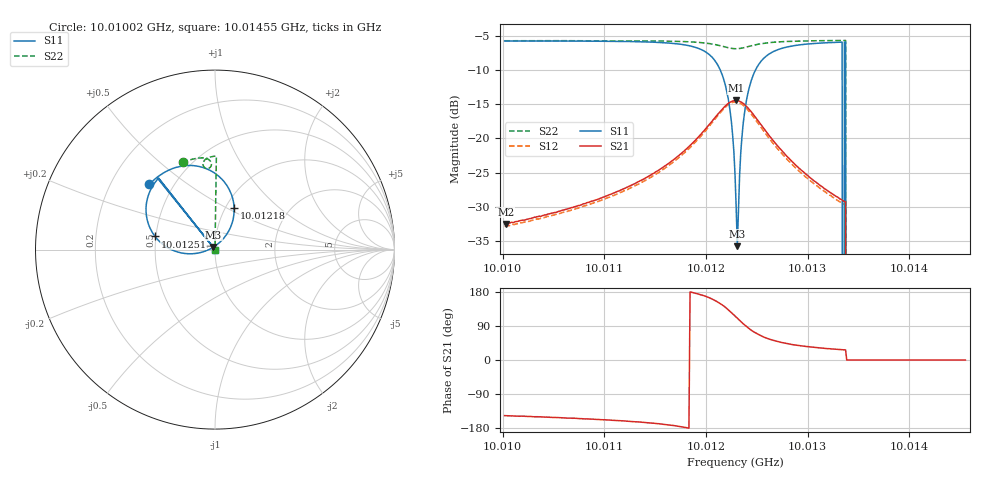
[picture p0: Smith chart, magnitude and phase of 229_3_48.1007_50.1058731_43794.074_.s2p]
#  HZ  S  RI  R  50.00
! Rohde & Schwarz Vector Network Analyzer
! Rohde-Schwarz,ZNB20-2Port,1311601062101988,3.16
! Created: UTC 12/23/2023, 3:57:35 AM
! freq[Hz]  re:S11  im:S11  re:S21  im:S21  re:S12  im:S12  re:S22  im:S22
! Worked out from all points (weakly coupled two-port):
!   401 points, 10.01002 GHz to 10.01455 GHz, reference 50 ohm
!   highest |S21| = -14.44 dB at 10.0123 GHz (marker M1); lowest = -32.5 dB at 10.01003 GHz (marker M2)
!   lowest |S11| = -35.8 dB at 10.01231 GHz (marker M3), VSWR 1.03, Z = 49.1 + j1.37 ohm
!   |S11| at or under -10 dB: 10.01214 GHz to 10.01249 GHz (345.5 kHz wide, 0.00345 % of centre); 10.01334 GHz to 10.01336 GHz (22.17 kHz wide, 0.000221 % of centre); 10.01337 GHz to end of sweep
!   |S22| runs from - to -5.7 dB; largest |S21 - S12| = 0.0094
!   S11 on the Smith chart (normalised r, x): 10.01002 GHz: 0.37, +0.37; 10.01218 GHz: 1.10, +0.55; 10.01251 GHz: 0.49, +0.08; 10.01455 GHz: 1.00, +0.00
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1.0010021e10  -0.3651 0.365  -0.0198 -0.013  -0.0183 -0.0135  -0.1806 0.4862
1.0010032e10  -0.3644 0.3657  -0.0199 -0.0129  -0.0185 -0.0135  -0.1801 0.4865
1.0010779e10  -0.3093 0.4127  -0.0297 -0.0139  -0.0279 -0.0148  -0.1318 0.5022
1.0011538e10  -0.2021 0.4619  -0.0575 -0.012  -0.0548 -0.0144  -0.0755 0.511
1.0011991e10  -0.0107 0.432  -0.1139 0.0229  -0.1116 0.0161  -0.0307 0.4983
1.0012184e10  0.1065 0.2335  -0.1322 0.1082  -0.1343 0.0997  -0.021 0.4677
1.0012252e10  0.0768 0.1042  -0.1062 0.1531  -0.1108 0.1451  -0.0306 0.4552
1.0012286e10  0.0316 0.045  -0.0832 0.1702  -0.0884 0.1625  -0.0384 0.4519
1.0012297e10  0.0129 0.0289  -0.0746 0.1743  -0.0794 0.1671  -0.0414 0.4514
1.0012308e10  -0.00841 0.0139  -0.0653 0.1776  -0.0701 0.1708  -0.0442 0.4515
1.001232e10  -0.0302 0.0018  -0.0564 0.1797  -0.0605 0.1732  -0.0473 0.4519
1.0012387e10  -0.1687 -0.0216  -0.00207 0.1748  -0.00756 0.1691  -0.0614 0.4605
1.0012512e10  -0.334 0.0732  0.0505 0.125  0.0445 0.1213  -0.066 0.4845
1.0013044e10  -0.3516 0.347  0.0416 0.0281  0.0384 0.0286  -0.0184 0.5181
1.0013316e10  -0.3204 0.3919  0.0321 0.0166  0.0295 0.0175  0.00336 0.5209
1.0013327e10  -0.3191 0.3932  0.0319 0.0165  0.0294 0.0173  0.00422 0.5209
1.001335e10  0 0  0.0312 0.0159  0.0288 0.0165  0.00601 0.521
1.0013373e10  -0.3143 0.3986  0.0306 0.0153  0.0282 0.016  0.00767 0.5212
1.0013384e10  0 0  0 0  0 0  0 0
1.0013407e10  0 0  0 0  0 0  0 0
1.0013803e10  0 0  0 0  0 0  0 0
1.0014551e10  0 0  0 0  0 0  0 0
